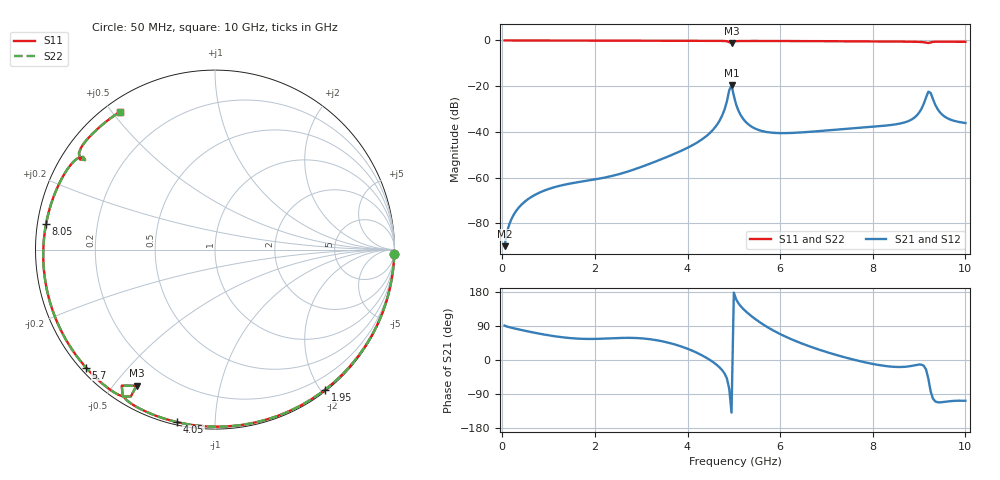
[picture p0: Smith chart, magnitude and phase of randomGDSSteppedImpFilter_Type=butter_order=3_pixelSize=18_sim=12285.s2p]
! freq	dB(S11)	phase(S11)	dB(S12)	phase(S12)
!  dB(S21)	phase(S21)	dB(S22)	phase(S22)
!S-par simulation data
#  GHz  S  DB  R 50
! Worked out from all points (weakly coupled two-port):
!   200 points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, 50 MHz to 10 GHz, reference 50 ohm
!   highest |S21| = -19.65 dB at 4.95 GHz (marker M1); lowest = -90.0 dB at 50 MHz (marker M2)
!   lowest |S11| = -1.2 dB at 4.95 GHz (marker M3), VSWR 15.01, Z = 4.44 - j28.7 ohm
!   |S11| at or under -10 dB: nowhere
!   |S22| runs from -1.2 to 0.0 dB; largest |S21 - S12| = 0
!   S11 on the Smith chart (normalised r, x): 50 MHz: 1, -87; 1.95 GHz: 0.02, -2.06; 4.05 GHz: 0.01, -0.80; 5.7 GHz: 0.02, -0.39; 8.05 GHz: 0.02, +0.07; 10 GHz: 0.04, +0.53
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0.05  -0.00 -1.3  -90.04 90.7  -90.04 90.7  -0.00 -1.3
0.15  -0.01 -4.0  -80.55 86.6  -80.55 86.6  -0.01 -4.0
0.35  -0.02 -9.5  -73.29 80.8  -73.29 80.8  -0.02 -9.5
0.7  -0.02 -19.0  -67.63 71.8  -67.63 71.8  -0.02 -19.0
1.75  -0.06 -46.7  -61.65 55.8  -61.65 55.8  -0.06 -46.7
1.95  -0.07 -51.8  -60.99 55.6  -60.99 55.6  -0.07 -51.8
3.4  -0.11 -87.3  -52.27 50.7  -52.27 50.7  -0.11 -87.3
4.05  -0.14 -102.3  -46.46 27.2  -46.46 27.2  -0.14 -102.3
4.65  -0.18 -116.3  -36.48 -14.9  -36.48 -14.9  -0.18 -116.3
4.8  -0.25 -120.5  -30.18 -35.7  -30.18 -35.7  -0.25 -120.5
4.95  -1.16 -120.0  -19.65 -138.9  -19.65 -138.9  -1.16 -120.0
5.05  -0.31 -121.8  -28.07 160.0  -28.07 160.0  -0.31 -121.8
5.3  -0.22 -128.6  -36.49 123.8  -36.49 123.8  -0.22 -128.6
5.7  -0.23 -137.5  -40.05 88.6  -40.05 88.6  -0.23 -137.5
6.7  -0.30 -159.0  -39.90 33.2  -39.90 33.2  -0.30 -159.0
8.05  -0.43 171.5  -37.69 -11.5  -37.69 -11.5  -0.43 171.5
8.35  -0.46 164.6  -37.11 -17.0  -37.11 -17.0  -0.46 164.6
8.9  -0.57 151.3  -33.75 -14.1  -33.75 -14.1  -0.57 151.3
9.05  -0.68 147.3  -29.98 -12.2  -29.98 -12.2  -0.68 147.3
9.2  -1.12 145.4  -22.41 -49.5  -22.41 -49.5  -1.12 145.4
9.5  -0.54 138.1  -32.51 -111.3  -32.51 -111.3  -0.54 138.1
10  -0.60 124.5  -36.13 -107.6  -36.13 -107.6  -0.60 124.5
